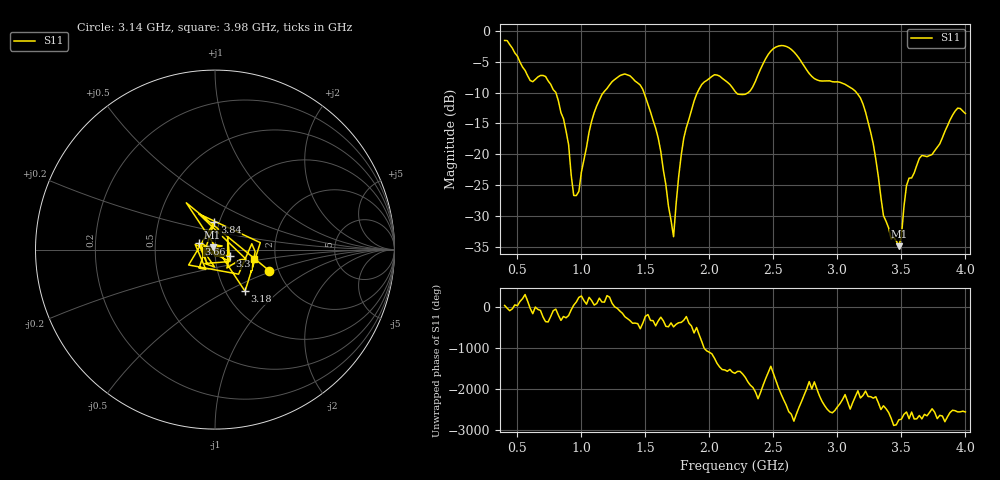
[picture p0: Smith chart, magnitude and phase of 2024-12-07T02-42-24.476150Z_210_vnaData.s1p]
!Created with skrf (http://scikit-rf.org).
# Hz S RI R 50.0
!freq ReS11 ImS11
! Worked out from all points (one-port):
!   181 points, 400 MHz to 4 GHz, reference 50 ohm
!   lowest |S11| = -34.9 dB at 3.48 GHz (marker M1), VSWR 1.04, Z = 48.7 + j1.2 ohm
!   |S11| at or under -10 dB: 800.4 MHz to 1.173 GHz (372.2 MHz wide, 37.7 % of centre); 1.488 GHz to 1.906 GHz (418.1 MHz wide, 24.6 % of centre); 3.149 GHz to end of sweep (the widest 3 of 4)
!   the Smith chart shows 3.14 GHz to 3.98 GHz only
!   S11 on the Smith chart (normalised r, x): 3.14 GHz: 1.79, -0.47; 3.18 GHz: 1.23, -0.62; 3.3 GHz: 1.18, -0.09; 3.66 GHz: 0.83, +0.06; 3.84 GHz: 0.95, +0.30; 3.98 GHz: 1.55, -0.17
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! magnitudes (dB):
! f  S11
! 400 MHz  -1.6
! 600 MHz  -8.1
! 720 MHz  -7.4
! 860 MHz  -14.2
! 960 MHz  -26.7
! 1.1 GHz  -13.2
! 1.3 GHz  -7.3
! 1.54 GHz  -13.1
! 1.62 GHz  -19.5
! 1.72 GHz  -33.3
! 1.76 GHz  -23.6
! 1.82 GHz  -15.7
! 1.94 GHz  -8.7
! 2.2 GHz  -9.8
! 2.32 GHz  -9.7
! 2.5 GHz  -2.9
! 2.66 GHz  -3.4
! 3.1 GHz  -9.2
! 3.14 GHz  -9.8
! 3.18 GHz  -10.9
! 3.3 GHz  -20.8
! 3.36 GHz  -29.9
! 3.48 GHz  -34.9
! 3.56 GHz  -23.9
! 3.66 GHz  -20.2
! 3.84 GHz  -16.3
! 3.98 GHz  -13.0
! 4 GHz  -13.4
